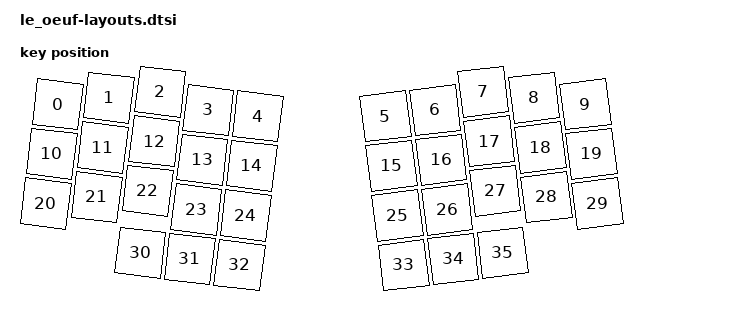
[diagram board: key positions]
#include <physical_layouts.dtsi>

/ {
    physical_layout0: physical_layout_0 {
        compatible = "zmk,physical-layout";
        display-name = "Default Layout";

        keys  //                     w   h    x    y     rot    rx    ry
            = <&key_physical_attrs 100 100    0   50     700   600   250>
            , <&key_physical_attrs 100 100  100   25     700   600   250>
            , <&key_physical_attrs 100 100  200    0     700   600   250>
            , <&key_physical_attrs 100 100  300   25     700   600   250>
            , <&key_physical_attrs 100 100  400   25     700   600   250>
            , <&key_physical_attrs 100 100  700   25  (-700)   600   250>
            , <&key_physical_attrs 100 100  800   25  (-700)   600   250>
            , <&key_physical_attrs 100 100  900    0  (-700)   600   250>
            , <&key_physical_attrs 100 100 1000   25  (-700)   600   250>
            , <&key_physical_attrs 100 100 1100   50  (-700)   600   250>
            , <&key_physical_attrs 100 100    0  150     700   600   250>
            , <&key_physical_attrs 100 100  100  125     700   600   250>
            , <&key_physical_attrs 100 100  200  100     700   600   250>
            , <&key_physical_attrs 100 100  300  125     700   600   250>
            , <&key_physical_attrs 100 100  400  125     700   600   250>
            , <&key_physical_attrs 100 100  700  125  (-700)   600   250>
            , <&key_physical_attrs 100 100  800  125  (-700)   600   250>
            , <&key_physical_attrs 100 100  900  100  (-700)   600   250>
            , <&key_physical_attrs 100 100 1000  125  (-700)   600   250>
            , <&key_physical_attrs 100 100 1100  150  (-700)   600   250>
            , <&key_physical_attrs 100 100    0  250     700   600   250>
            , <&key_physical_attrs 100 100  100  225     700   600   250>
            , <&key_physical_attrs 100 100  200  200     700   600   250>
            , <&key_physical_attrs 100 100  300  225     700   600   250>
            , <&key_physical_attrs 100 100  400  225     700   600   250>
            , <&key_physical_attrs 100 100  700  225  (-700)   600   250>
            , <&key_physical_attrs 100 100  800  225  (-700)   600   250>
            , <&key_physical_attrs 100 100  900  200  (-700)   600   250>
            , <&key_physical_attrs 100 100 1000  225  (-700)   600   250>
            , <&key_physical_attrs 100 100 1100  250  (-700)   600   250>
            , <&key_physical_attrs 100 100  200  325     700   600   250>
            , <&key_physical_attrs 100 100  300  325     700   600   250>
            , <&key_physical_attrs 100 100  400  325     700   600   250>
            , <&key_physical_attrs 100 100  700  325  (-700)   600   250>
            , <&key_physical_attrs 100 100  800  325  (-700)   600   250>
            , <&key_physical_attrs 100 100  900  325  (-700)   600   250>
            ;
    };
};
